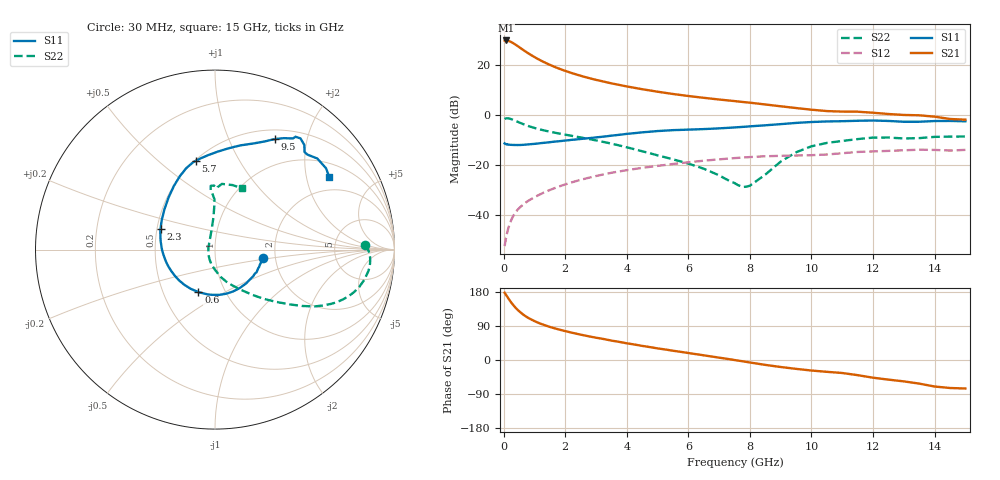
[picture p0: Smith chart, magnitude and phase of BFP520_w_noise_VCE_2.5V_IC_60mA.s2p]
! Infineon Technologies  Discrete & RF Semiconductors
! BFP520
! VCE =  2.5 V,  IC =  60 mA
! Common Emitter S-Parameters:  Oct 2015
# GHz  S  MA  R  50
!  f  S11  S21  S12  S22
! GHz  MAG  ANG  MAG  ANG  MAG  ANG  MAG  ANG
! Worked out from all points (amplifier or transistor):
!   109 points, 30 MHz to 15 GHz, reference 50 ohm
!   highest |S21| = 29.9 dB at 70 MHz (marker M1)
!   |S21| within 3 dB of that: start of sweep to 541.2 MHz
!   unconditionally stable (mu >= 1): start of sweep to 88.44 MHz; 1.037 GHz to end of sweep
!   at 450 MHz: K = 0.70, MSG = 32.8 dB, |S12| = -37.9 dB
!   at 4 GHz: K = 1.37, MAG = 13.1 dB, |S12| = -22.0 dB
!   at 15 GHz: K = 1.43, MAG = 2.1 dB, |S12| = -13.9 dB
!   lowest NFmin = 3.65 dB at 450 MHz
!   S11 on the Smith chart (normalised r, x): 30 MHz: 1.72, -0.17; 600 MHz: 0.75, -0.38; 2.3 GHz: 0.52, +0.14; 5.7 GHz: 0.51, +0.67; 9.5 GHz: 0.62, +1.49; 15 GHz: 1.45, +2.73
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0.03  0.2722 -9.9  31.03 177.5  0.0024 111.8  0.8353 1.7
0.07  0.2637 -19.3  31.2 172.5  0.0035 91.7  0.862 -1.7
0.14  0.2599 -34.3  30.75 164.0  0.0052 82.8  0.8646 -7.2
0.2  0.2561 -47.5  29.84 156.8  0.0068 78.8  0.8496 -11.3
0.3  0.2541 -67.0  27.76 146.0  0.0094 74.4  0.8092 -17.1
0.35  0.2537 -75.9  26.57 141.2  0.0106 73.1  0.7857 -19.5
0.45  0.2526 -91.6  24.16 132.6  0.0128 70.8  0.7392 -23.3
0.6  0.2545 -111.2  20.85 122.0  0.0157 68.9  0.6752 -27.5
0.7  0.257 -122.0  18.92 116.1  0.0176 68.1  0.6387 -29.7
0.9  0.2637 -139.6  15.8 106.7  0.0211 67.2  0.5798 -32.8
1.2  0.2753 -159.0  12.44 95.8  0.0264 66.5  0.5152 -36.3
1.6  0.2931 -178.0  9.55 84.9  0.0337 65.3  0.4535 -40.1
2.3  0.3246 159.0  6.689 70.6  0.047 61.7  0.3773 -45.9
2.6  0.3395 150.9  5.891 65.2  0.0528 59.8  0.3491 -48.3
3.5  0.3893 131.6  4.325 51.2  0.0704 52.7  0.2697 -56.8
5.1  0.4852 108.3  2.884 29.5  0.0985 39.0  0.1517 -78.9
5.7  0.5065 102.1  2.555 22.1  0.109 33.9  0.1211 -86.9
7.6  0.5737 81.3  1.883 -1.3  0.1398 16.4  0.0403 -157.2
9.5  0.7002 61.6  1.388 -23.4  0.1559 -1.4  0.1812 92.7
10.5  0.7492 55.8  1.207 -31.2  0.1634 -6.6  0.2787 90.5
13  0.7379 47.5  1.01 -56.4  0.1986 -28.6  0.3422 88.1
15  0.7541 32.5  0.812 -75.2  0.2022 -45.4  0.3742 65.9
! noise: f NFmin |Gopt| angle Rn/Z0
0.45  3.65  0.26  -160  0.32
0.9  3.65  0.28  -151  0.34
1.9  3.9  0.37  -130  0.47
2.4  3.98  0.38  -127  0.44
3.5  4.15  0.37  -112  0.61
